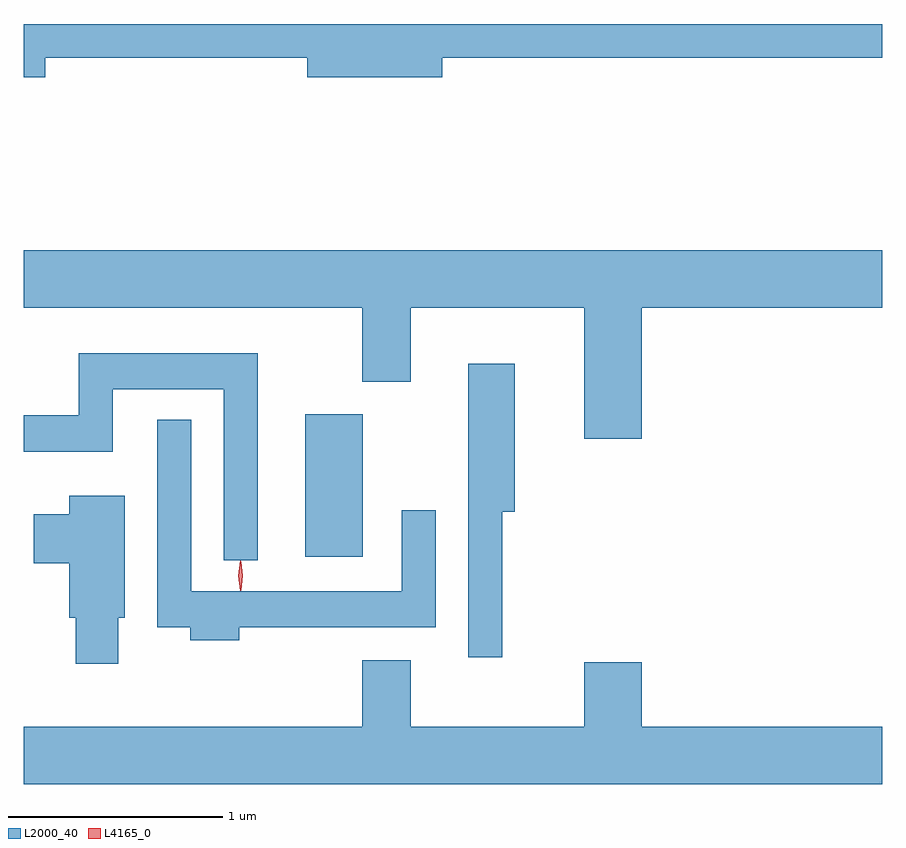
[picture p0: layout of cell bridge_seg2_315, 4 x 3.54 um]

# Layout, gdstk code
import gdstk
lib = gdstk.Library(unit=1e-6, precision=1e-09)
def R(c, l, rs):  # rectangles x0, y0, x1, y1
    for r in rs: c.add(gdstk.rectangle(r[:2], r[2:], *l))
def P(c, l, *ps):  # polygons
    for p in ps: c.add(gdstk.Polygon(p, *l))
L2000_40 = (2000, 40)
L4165_0 = (4165, 0)

bridge_seg2_315 = lib.new_cell('bridge_seg2_315')
R(bridge_seg2_315, L2000_40, [(413.576,1047.156,413.844,1047.819)])
P(bridge_seg2_315, L2000_40, [(412.364,1049.481),(413.586,1049.481),(413.586,1049.391),(414.214,1049.391),(414.214,1049.481),(416.265,1049.481),(416.265,1049.639),(412.265,1049.639),(412.265,1049.391),(412.364,1049.391)],
  [(415.144,1048.316),(416.265,1048.316),(416.265,1048.584),(412.265,1048.584),(412.265,1048.316),(413.841,1048.316),(413.841,1047.971),(414.069,1047.971),(414.069,1048.316),(414.876,1048.316),(414.876,1047.706),(415.144,1047.706)],
  [(413.354,1048.104),(412.521,1048.104),(412.521,1047.814),(412.265,1047.814),(412.265,1047.646),(412.679,1047.646),(412.679,1047.936),(413.196,1047.936),(413.196,1047.138),(413.354,1047.138)],
  [(414.494,1047.366),(414.554,1047.366),(414.554,1048.054),(414.336,1048.054),(414.336,1046.688),(414.494,1046.688)],
  [(413.269,1046.826),(414.184,1046.826),(414.184,1047.373),(414.026,1047.373),(414.026,1046.994),(413.044,1046.994),(413.044,1047.793),(412.886,1047.793),(412.886,1046.826),(413.041,1046.826),(413.041,1046.766),(413.269,1046.766)],
  [(412.704,1046.871),(412.734,1046.871),(412.734,1047.439),(412.476,1047.439),(412.476,1047.354),(412.311,1047.354),(412.311,1047.126),(412.476,1047.126),(412.476,1046.871),(412.506,1046.871),(412.506,1046.656),(412.704,1046.656)],
  [(416.265,1046.364),(415.144,1046.364),(415.144,1046.664),(414.876,1046.664),(414.876,1046.364),(414.069,1046.364),(414.069,1046.674),(413.841,1046.674),(413.841,1046.364),(412.265,1046.364),(412.265,1046.096),(416.265,1046.096)])
P(bridge_seg2_315, L4165_0, [(413.276,1047),(413.276,1047),(413.266,1047.066),(413.276,1047.132),(413.276,1047.133),(413.277,1047.132),(413.286,1047.066),(413.277,1047)],
  [(413.274,1046.997),(413.265,1047.067),(413.274,1047.136),(413.275,1047.136),(413.276,1047.136),(413.285,1047.067),(413.276,1046.997),(413.275,1046.997)])

lib.write_gds('bridge_seg2_315.gds')
